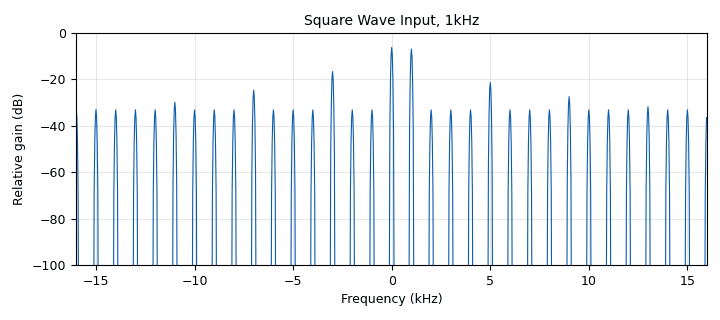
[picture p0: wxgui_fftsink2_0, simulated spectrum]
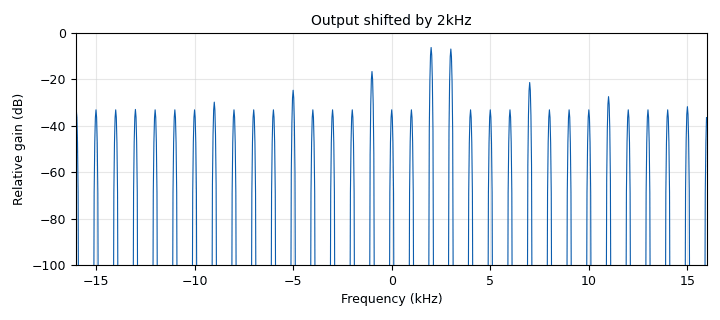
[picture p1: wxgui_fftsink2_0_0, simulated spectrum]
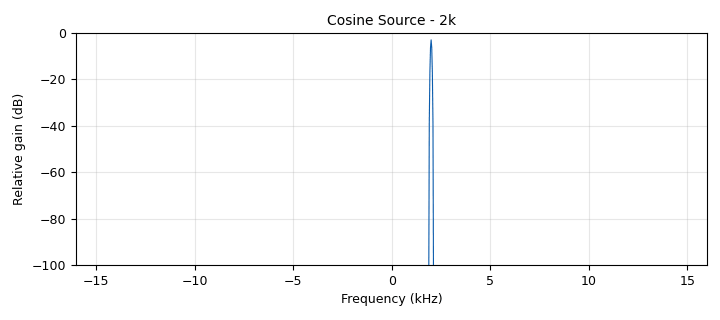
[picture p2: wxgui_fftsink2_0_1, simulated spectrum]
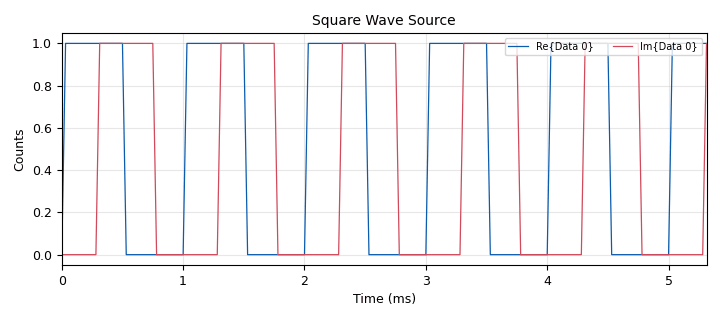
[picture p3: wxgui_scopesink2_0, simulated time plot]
<?xml version='1.0' encoding='utf-8'?>
<?grc format='1' created='3.7.11'?>
<flow_graph>
<block>
<key>options</key>
<param><key>id</key><value>freq_shift_square</value></param>
<param><key>description</key><value>Shifts square wave in frequency domain</value></param>
<param><key>generate_options</key><value>wx_gui</value></param>
</block>
<block>
<key>variable</key>
<param><key>id</key><value>samp_rate</value></param>
<param><key>value</key><value>32000</value></param>
</block>
<block>
<key>analog_sig_source_x</key>
<param><key>id</key><value>analog_sig_source_x_0</value></param>
<param><key>amp</key><value>1</value></param>
<param><key>freq</key><value>1000</value></param>
<param><key>offset</key><value>0</value></param>
<param><key>type</key><value>complex</value></param>
<param><key>samp_rate</key><value>samp_rate</value></param>
<param><key>waveform</key><value>analog.GR_SQR_WAVE</value></param>
</block>
<block>
<key>analog_sig_source_x</key>
<param><key>id</key><value>analog_sig_source_x_0_0</value></param>
<param><key>amp</key><value>1</value></param>
<param><key>freq</key><value>2000</value></param>
<param><key>offset</key><value>0</value></param>
<param><key>type</key><value>complex</value></param>
<param><key>samp_rate</key><value>samp_rate</value></param>
<param><key>waveform</key><value>analog.GR_COS_WAVE</value></param>
</block>
<block>
<key>blocks_multiply_xx</key>
<param><key>id</key><value>blocks_multiply_xx_0</value></param>
<param><key>type</key><value>complex</value></param>
</block>
<block>
<key>blocks_throttle</key>
<param><key>id</key><value>blocks_throttle_0</value></param>
<param><key>samples_per_second</key><value>samp_rate</value></param>
<param><key>type</key><value>complex</value></param>
</block>
<block>
<key>notebook</key>
<param><key>id</key><value>nb0</value></param>
<param><key>labels</key><value>['FFT', 'Square', 'Cosine']</value></param>
<param><key>style</key><value>wx.NB_TOP</value></param>
</block>
<block>
<key>note</key>
<param><key>id</key><value>note_0</value></param>
<param><key>comment</key><value>Square waves are composed of an infinite series
of frequency peaks in the positive and negative
directions.</value></param>
<param><key>note</key><value>Square Wave </value></param>
</block>
<block>
<key>note</key>
<param><key>id</key><value>note_2</value></param>
<param><key>comment</key><value>Multiplying the input by the cosine causes a shift
in the frequency domain.

Example: Input is 1 kHz. Cosine is 2 kHz. 
The multiplication output results in a signal at
3 kHz. The 1 kHz signal is shifted to the right by the 
cosine frequency.

If the cosine frequency were negative, the input
signal would be shifted to the left.</value></param>
<param><key>note</key><value>Why Multiply?</value></param>
</block>
<block>
<key>wxgui_fftsink2</key>
<param><key>id</key><value>wxgui_fftsink2_0</value></param>
<param><key>avg_alpha</key><value>0</value></param>
<param><key>average</key><value>False</value></param>
<param><key>baseband_freq</key><value>0</value></param>
<param><key>fft_size</key><value>1024</value></param>
<param><key>freqvar</key><value>None</value></param>
<param><key>notebook</key><value>nb0,0</value></param>
<param><key>peak_hold</key><value>False</value></param>
<param><key>ref_level</key><value>0</value></param>
<param><key>ref_scale</key><value>2.0</value></param>
<param><key>fft_rate</key><value>15</value></param>
<param><key>samp_rate</key><value>samp_rate</value></param>
<param><key>title</key><value>Square Wave Input, 1kHz</value></param>
<param><key>type</key><value>complex</value></param>
<param><key>win</key><value>None</value></param>
<param><key>y_divs</key><value>10</value></param>
<param><key>y_per_div</key><value>10</value></param>
</block>
<block>
<key>wxgui_fftsink2</key>
<param><key>id</key><value>wxgui_fftsink2_0_0</value></param>
<param><key>avg_alpha</key><value>0</value></param>
<param><key>average</key><value>False</value></param>
<param><key>baseband_freq</key><value>0</value></param>
<param><key>fft_size</key><value>1024</value></param>
<param><key>freqvar</key><value>None</value></param>
<param><key>peak_hold</key><value>False</value></param>
<param><key>ref_level</key><value>0</value></param>
<param><key>ref_scale</key><value>2.0</value></param>
<param><key>fft_rate</key><value>15</value></param>
<param><key>samp_rate</key><value>samp_rate</value></param>
<param><key>title</key><value>Output shifted by 2kHz</value></param>
<param><key>type</key><value>complex</value></param>
<param><key>win</key><value>None</value></param>
<param><key>y_divs</key><value>10</value></param>
<param><key>y_per_div</key><value>10</value></param>
</block>
<block>
<key>wxgui_fftsink2</key>
<param><key>id</key><value>wxgui_fftsink2_0_1</value></param>
<param><key>avg_alpha</key><value>0</value></param>
<param><key>average</key><value>False</value></param>
<param><key>baseband_freq</key><value>0</value></param>
<param><key>fft_size</key><value>1024</value></param>
<param><key>freqvar</key><value>None</value></param>
<param><key>notebook</key><value>nb0,2</value></param>
<param><key>peak_hold</key><value>False</value></param>
<param><key>ref_level</key><value>0</value></param>
<param><key>ref_scale</key><value>2.0</value></param>
<param><key>fft_rate</key><value>15</value></param>
<param><key>samp_rate</key><value>samp_rate</value></param>
<param><key>title</key><value>Cosine Source - 2k</value></param>
<param><key>type</key><value>complex</value></param>
<param><key>win</key><value>None</value></param>
<param><key>y_divs</key><value>10</value></param>
<param><key>y_per_div</key><value>10</value></param>
</block>
<block>
<key>wxgui_scopesink2</key>
<param><key>id</key><value>wxgui_scopesink2_0</value></param>
<param><key>ac_couple</key><value>False</value></param>
<param><key>notebook</key><value>nb0, 1</value></param>
<param><key>num_inputs</key><value>1</value></param>
<param><key>samp_rate</key><value>samp_rate</value></param>
<param><key>t_scale</key><value>0</value></param>
<param><key>title</key><value>Square Wave Source</value></param>
<param><key>trig_mode</key><value>wxgui.TRIG_MODE_AUTO</value></param>
<param><key>type</key><value>complex</value></param>
<param><key>v_offset</key><value>0</value></param>
<param><key>v_scale</key><value>0</value></param>
<param><key>xy_mode</key><value>False</value></param>
<param><key>y_axis_label</key><value>Counts</value></param>
</block>
<connection><source_block_id>analog_sig_source_x_0</source_block_id><sink_block_id>blocks_throttle_0</sink_block_id><source_key>0</source_key><sink_key>0</sink_key></connection>
<connection><source_block_id>analog_sig_source_x_0_0</source_block_id><sink_block_id>blocks_multiply_xx_0</sink_block_id><source_key>0</source_key><sink_key>1</sink_key></connection>
<connection><source_block_id>analog_sig_source_x_0_0</source_block_id><sink_block_id>wxgui_fftsink2_0_1</sink_block_id><source_key>0</source_key><sink_key>0</sink_key></connection>
<connection><source_block_id>blocks_multiply_xx_0</source_block_id><sink_block_id>wxgui_fftsink2_0_0</sink_block_id><source_key>0</source_key><sink_key>0</sink_key></connection>
<connection><source_block_id>blocks_throttle_0</source_block_id><sink_block_id>blocks_multiply_xx_0</sink_block_id><source_key>0</source_key><sink_key>0</sink_key></connection>
<connection><source_block_id>blocks_throttle_0</source_block_id><sink_block_id>wxgui_fftsink2_0</sink_block_id><source_key>0</source_key><sink_key>0</sink_key></connection>
<connection><source_block_id>blocks_throttle_0</source_block_id><sink_block_id>wxgui_scopesink2_0</sink_block_id><source_key>0</source_key><sink_key>0</sink_key></connection>
</flow_graph>
